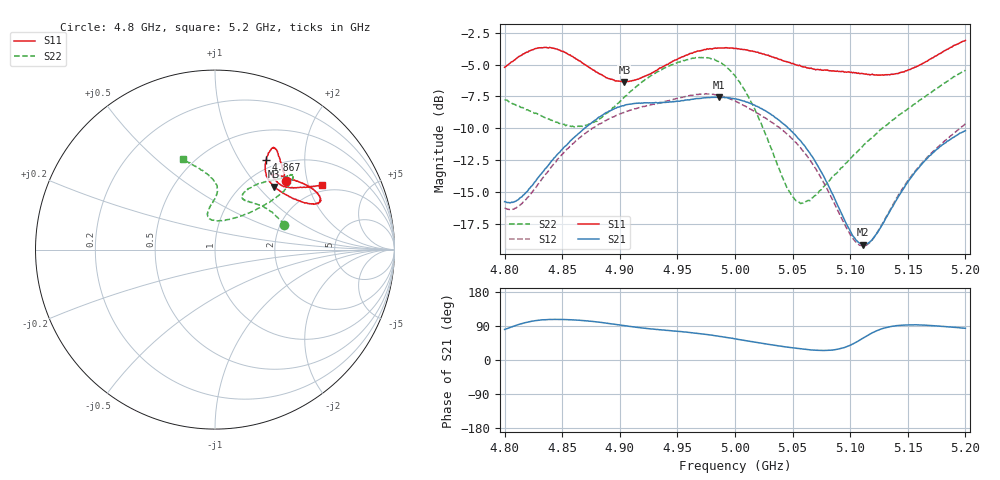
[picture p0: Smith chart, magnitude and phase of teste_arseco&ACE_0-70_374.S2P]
! Network Analyzer HP8722D
! Hewlett-Packard
! Data name: Linha & Wilkinson
! Saver's name: Rodrigo Anjos
! Comments: Teste da utilização de aquisição
! continua pelo VNA HP8722D
! Time and date: 8/5/2025 15:52
!  Frequency  S11  S21  S12  S22
# HZ  S  MA R 50
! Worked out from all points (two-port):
!   401 points, 4.8 GHz to 5.2 GHz, reference 50 ohm
!   highest |S21| = -7.55 dB at 4.986 GHz (marker M1); lowest = -19.1 dB at 5.111 GHz (marker M2)
!   |S21| within 3 dB of the highest: 4.863 GHz to 5.053 GHz (190 MHz wide, 3.83 % of centre); 5.192688 GHz to end of sweep
!   lowest |S11| = -6.4 dB at 4.904 GHz (marker M3), VSWR 2.85, Z = 67.2 + j61.2 ohm
!   |S11| at or under -10 dB: nowhere
!   |S22| runs from -15.9 to -4.4 dB; largest |S21 - S12| = 0.16
!   S11 on the Smith chart (normalised r, x): 4.8 GHz: 1.37, +1.49; 4.867 GHz: 0.88, +1.31; 5.2 GHz: 1.75, +2.47
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4.8e9  0.5486 43.8  0.1629 80.6  0.1539 45.2  0.4096 19.6
4.813e9  0.6061 52.7  0.168 94.4  0.1573 59.1  0.3853 30.9
4.831e9  0.6542 58.8  0.2075 105.2  0.1958 71.1  0.3557 43.4
4.846e9  0.6449 60.7  0.2504 107.2  0.2394 74.0  0.3337 52.1
4.867e9  0.5727 60.3  0.3092 104.3  0.295 73.7  0.322 61.1
4.885e9  0.5103 56.1  0.3561 98.9  0.3335 72.0  0.3508 63.2
4.904e9  0.4807 46.8  0.3885 90.7  0.3649 70.0  0.4191 58.5
4.934e9  0.5424 30.0  0.3983 79.9  0.3976 66.1  0.5293 47.9
4.963e9  0.6228 24.3  0.4108 71.9  0.4255 59.8  0.596 44.8
4.986e9  0.6535 26.1  0.4193 62.6  0.4258 50.6  0.5768 42.1
5e9  0.6512 29.0  0.4124 55.7  0.405 44.9  0.5085 40.6
5.017e9  0.6327 33.7  0.39 47.2  0.3676 39.7  0.3773 41.8
5.048e9  0.5721 44.1  0.3117 33.0  0.2922 32.3  0.1766 69.9
5.057e9  0.5559 47.1  0.2821 29.5  0.2647 30.5  0.16 84.8
5.067e9  0.5417 50.5  0.245 26.4  0.2304 29.4  0.1682 97.4
5.082e9  0.5318 53.2  0.1847 25.7  0.1753 31.7  0.197 102.3
5.1e9  0.5237 52.7  0.125 39.1  0.1208 48.1  0.2399 96.4
5.111e9  0.5178 50.6  0.1105 57.5  0.1089 67.7  0.2692 91.9
5.12e9  0.5133 48.5  0.1169 73.0  0.1166 84.2  0.293 89.3
5.134e9  0.513 44.7  0.148 87.8  0.1494 100.0  0.3323 87.5
5.167e9  0.5799 36.5  0.241 91.5  0.2438 108.5  0.4278 96.4
5.2e9  0.6992 31.2  0.3093 83.7  0.3295 108.5  0.5344 109.8
